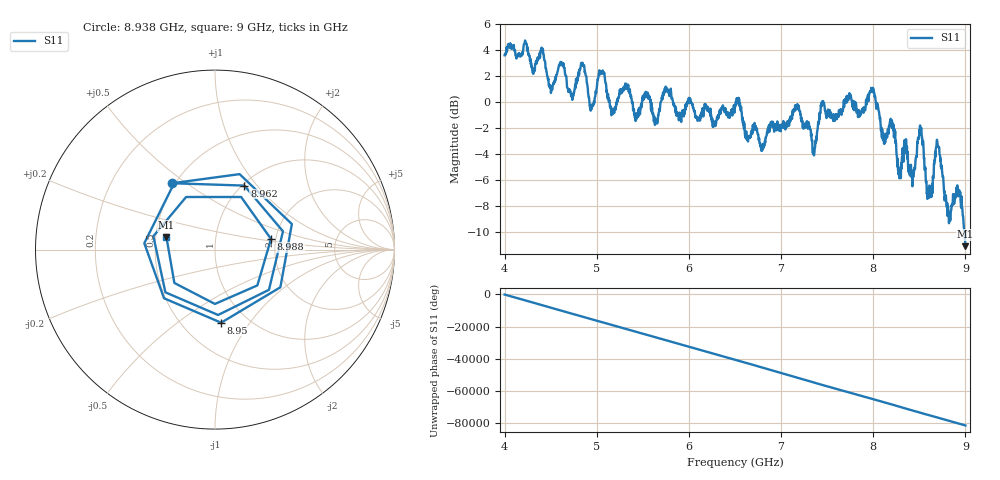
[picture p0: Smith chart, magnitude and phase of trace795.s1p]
! Created with skrf 1.8.0 (http://scikit-rf.org).
# Hz S RI R 50.0
!freq ReS11 ImS11
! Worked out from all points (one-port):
!   1601 points, 4 GHz to 9 GHz, reference 50 ohm
!   lowest |S11| = -11.1 dB at 9 GHz (marker M1), VSWR 1.77, Z = 28.5 + j4.26 ohm
!   |S11| at or under -10 dB: 8.988471 GHz to end of sweep
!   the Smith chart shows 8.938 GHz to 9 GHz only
!   S11 on the Smith chart (normalised r, x): 8.938 GHz: 0.48, +0.44; 8.95 GHz: 0.76, -0.74; 8.962 GHz: 1.02, +0.86; 8.988 GHz: 1.89, +0.25; 9 GHz: 0.57, +0.09
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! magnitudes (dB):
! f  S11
! 4 GHz  3.6
! 4.503 GHz  0.7
! 4.625 GHz  3.1
! 4.731 GHz  0.6
! 4.85 GHz  2.8
! 4.944 GHz  -0.5
! 5.047 GHz  2.3
! 5.166 GHz  -0.7
! 5.25 GHz  1.0
! 5.875 GHz  -0.8
! 6.5 GHz  -0.3
! 6.794 GHz  -3.7
! 7.125 GHz  -1.0
! 7.359 GHz  -4.1
! 7.447 GHz  0.0
! 7.75 GHz  0.6
! 7.994 GHz  1.1
! 8.281 GHz  -5.4
! 8.375 GHz  -4.0
! 8.516 GHz  -2.3
! 8.606 GHz  -7.4
! 8.697 GHz  -3.2
! 8.816 GHz  -8.7
! 8.938 GHz  -7.1
! 8.95 GHz  -7.8
! 8.962 GHz  -8.1
! 8.988 GHz  -10.0
! 9 GHz  -11.1
